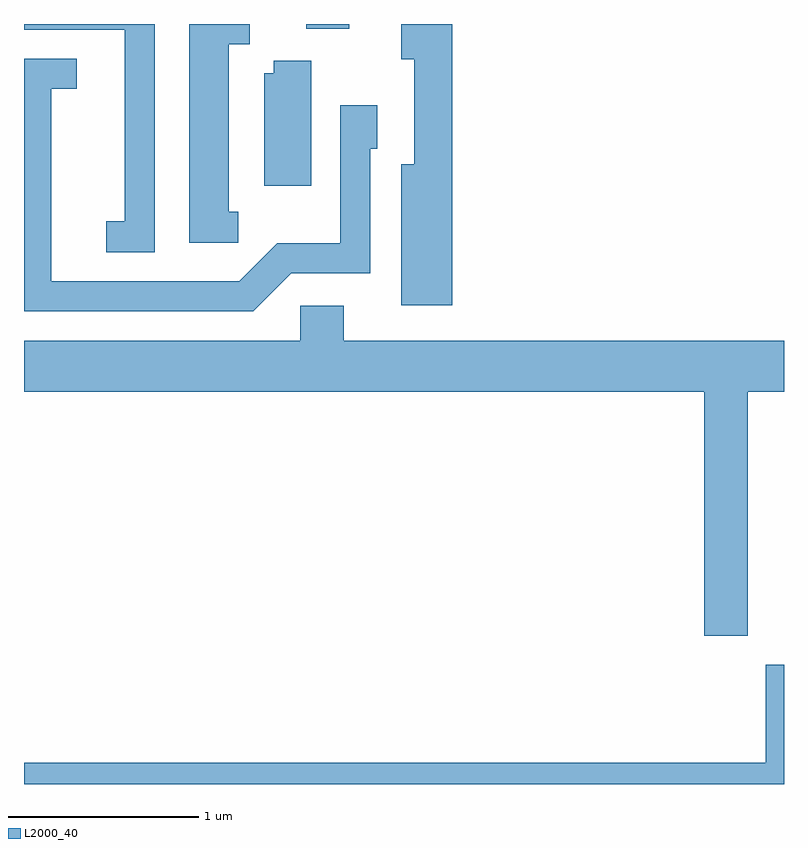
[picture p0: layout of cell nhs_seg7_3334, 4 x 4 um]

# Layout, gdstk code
import gdstk
lib = gdstk.Library(unit=1e-6, precision=1e-09)
def R(c, l, rs):  # rectangles x0, y0, x1, y1
    for r in rs: c.add(gdstk.rectangle(r[:2], r[2:], *l))
def P(c, l, *ps):  # polygons
    for p in ps: c.add(gdstk.Polygon(p, *l))
L2000_40 = (2000, 40)

nhs_seg7_3334 = lib.new_cell('nhs_seg7_3334')
R(nhs_seg7_3334, L2000_40, [(289.096,1716.226,289.324,1716.252)])
P(nhs_seg7_3334, L2000_40, [(289.864,1716.252),(289.596,1716.252),(289.596,1716.066),(289.666,1716.066),(289.666,1715.514),(289.596,1715.514),(289.596,1714.771),(289.864,1714.771)],
  [(288.299,1716.252),(287.611,1716.252),(287.611,1716.221),(288.141,1716.221),(288.141,1715.214),(288.043,1715.214),(288.043,1715.051),(288.299,1715.051)],
  [(288.738,1715.264),(288.689,1715.264),(288.689,1716.146),(288.798,1716.146),(288.798,1716.252),(288.481,1716.252),(288.481,1715.101),(288.738,1715.101)],
  [(289.017,1714.941),(289.434,1714.941),(289.434,1715.596),(289.469,1715.596),(289.469,1715.824),(289.276,1715.824),(289.276,1715.099),(288.944,1715.099),(288.744,1714.899),(287.754,1714.899),(287.754,1715.911),(287.888,1715.911),(287.888,1716.069),(287.611,1716.069),(287.611,1714.741),(288.817,1714.741)],
  [(289.124,1716.059),(288.926,1716.059),(288.926,1715.994),(288.876,1715.994),(288.876,1715.401),(289.124,1715.401)],
  [(291.419,1714.316),(291.611,1714.316),(291.611,1714.584),(289.294,1714.584),(289.294,1714.769),(289.066,1714.769),(289.066,1714.584),(287.611,1714.584),(287.611,1714.316),(291.191,1714.316),(291.191,1713.031),(291.419,1713.031)],
  [(291.611,1712.879),(291.516,1712.879),(291.516,1712.364),(287.611,1712.364),(287.611,1712.252),(291.611,1712.252)])

lib.write_gds('nhs_seg7_3334.gds')
